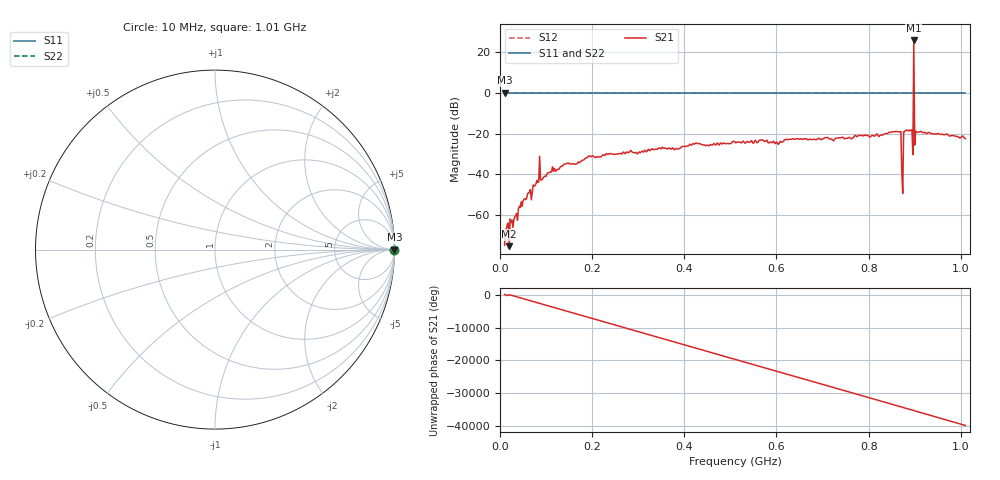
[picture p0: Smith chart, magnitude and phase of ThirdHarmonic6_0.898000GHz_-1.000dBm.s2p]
! 8/16/2025 5:28:37 AM
! C:\ANRITSUVNA\TEMP\TEMP.S2P
! CHANNEL.1
! TR.MEASUREMENT
! RAW.DATA
! RF.CORRECTION.OFF
! AVERAGING.OFF
! IF.BANDWIDTH: 5KHZ
! SWEEPTYPE:  FREQ.SWEEP(Linear)
! Reference Plane Port Info
! PORT:  PORT1  PORT2
! DISTANCE:  0  m  0  m
! TIME:  0  s  0  s
! PHASE.OFFSET:  0  deg.  0  deg.
! LOSS:  0  dB  0  dB
! REF.LOSS:  0  dB  0  dB
! REF.FREQ:  0  Hz  0  Hz
! Power Info
! POWER:  -20  dBm  -20  dBm
! EFF.POWER:  -20  dBm  -20  dBm
! SOURCE.ATTEN:  0  dB  0  dB
! TEST.ATTEN:  0  dB  0  dB
# GHZ S RI R 50.0
! FREQ.GHZ  S11RE  S11IM  S21RE  S21IM  S12RE  S12IM  S22RE  S22IM
!; PortSelection: Port_12
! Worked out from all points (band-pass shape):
!   501 points, 10 MHz to 1.01 GHz, reference 50 ohm
!   highest |S21| = 25.57 dB at 898 MHz (marker M1); lowest = -75.1 dB at 20 MHz (marker M2)
!   |S21| within 3 dB of the highest: 897.8927 MHz to 898.1172 MHz (224.6 kHz wide, 0.025 % of centre)
!   lowest |S11| = 0.0 dB at 10 MHz (marker M3)
!   |S11| at or under -10 dB: nowhere
!   |S22| runs from 0.0 to 0.0 dB; largest |S21 - S12| = 18
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0.01  1 0  -0.000141 0.000121  1 0  1 0
0.014  1 0  0.000464 -0.000123  1 0  1 0
0.02  1 0  0.000139 0.000108  1 0  1 0
0.05  1 0  0.00213 -0.000849  1 0  1 0
0.072  1 0  -0.00536 0.00133  1 0  1 0
0.082  1 0  -0.00272 0.00582  1 0  1 0
0.178  1 0  -0.0214 -0.00502  1 0  1 0
0.344  1 0  0.0416 -0.0134  1 0  1 0
0.51  1 0  -0.0441 0.0437  1 0  1 0
0.678  1 0  -0.0612 -0.0374  1 0  1 0
0.844  1 0  0.107 0.0064  1 0  1 0
0.866  1 0  -0.1095 -0.0163  1 0  1 0
0.87  1 0  0.1004 0.0496  1 0  1 0
0.876  1 0  -0.0848 0.0709  1 0  1 0
0.88  1 0  0.1137 -0.0343  1 0  1 0
0.89  1 0  0.0481 -0.1062  1 0  1 0
0.892  1 0  -0.1023 -0.0651  1 0  1 0
0.894  1 0  -0.0799 0.0955  1 0  1 0
0.898  1 0  18.76 -2.918  1 0  1 0
0.902  1 0  -0.1068 0.0412  1 0  1 0
0.904  1 0  0.0208 0.1072  1 0  1 0
1.01  1 0  -0.0137 0.0742  1 0  1 0
